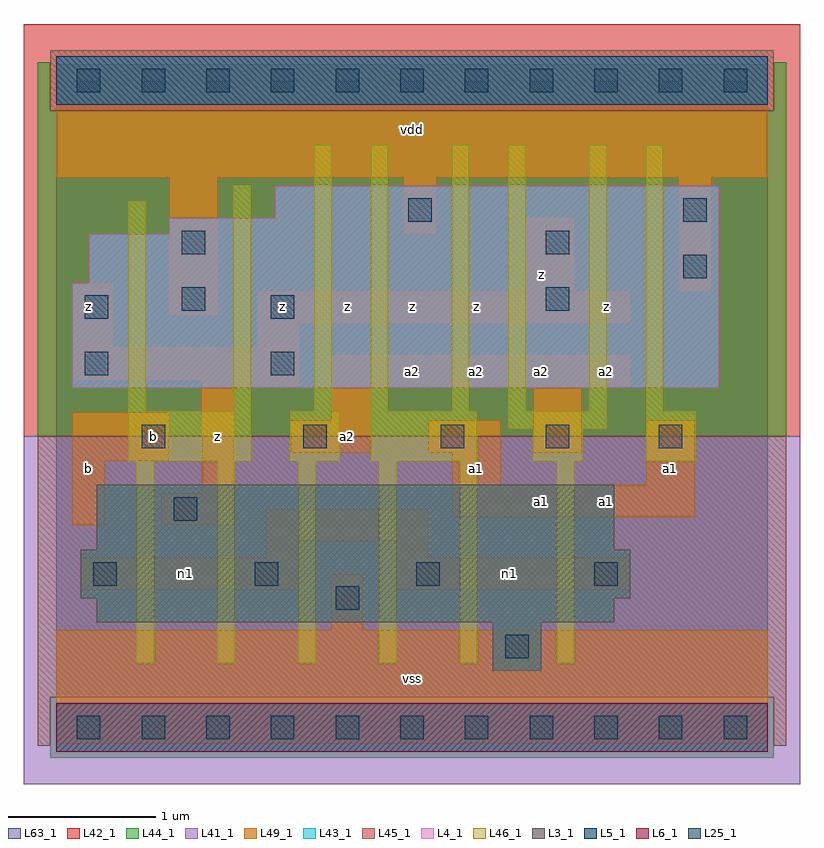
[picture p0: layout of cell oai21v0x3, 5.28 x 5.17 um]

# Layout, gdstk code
import gdstk
lib = gdstk.Library(unit=1e-6, precision=1e-09)
def R(c, l, rs):  # rectangles x0, y0, x1, y1
    for r in rs: c.add(gdstk.rectangle(r[:2], r[2:], *l))
def A(c, l, x, y, w, h, nx, ny, dx, dy):  # array of equal rectangles
    R(c, l, [(x+i*dx, y+j*dy, x+i*dx+w, y+j*dy+h) for i in range(nx) for j in range(ny)])
L3_1 = (3, 1)
L4_1 = (4, 1)
L5_1 = (5, 1)
L6_1 = (6, 1)
L25_1 = (25, 1)
L41_1 = (41, 1)
L42_1 = (42, 1)
L43_1 = (43, 1)
L44_1 = (44, 1)
L45_1 = (45, 1)
L46_1 = (46, 1)
L49_1 = (49, 1)
L63_1 = (63, 1)

oai21v0x3 = lib.new_cell('oai21v0x3')
R(oai21v0x3, L3_1, [(2.97,0.385,3.3,0.715), (0.275,0.715,3.795,0.88), (0.165,0.88,3.905,1.21), (0.275,1.21,3.795,1.65)])
R(oai21v0x3, L4_1, [(0.11,2.31,4.51,3.025), (0.22,3.025,4.51,3.355), (0.77,3.355,4.51,3.465), (1.485,3.465,4.51,3.685)])
R(oai21v0x3, L5_1, [(0,4.235,4.84,4.565)])
R(oai21v0x3, L6_1, [(0,-0.165,4.84,0.165)])
A(oai21v0x3, L25_1, 0.14, -0.08, 0.16, 0.16, 11, 2, 0.44, 4.4)
A(oai21v0x3, L25_1, 0.25, 0.965, 0.16, 0.16, 3, 1, 1.1, 0)
R(oai21v0x3, L25_1, [(3.055,0.47,3.215,0.63), (1.9,0.8,2.06,0.96), (3.66,0.965,3.82,1.125), (0.8,1.405,0.96,1.565), (0.58,1.9,0.74,2.06), (1.68,1.9,1.84,2.06), (2.615,1.9,2.775,2.06), (3.33,1.9,3.49,2.06), (4.1,1.9,4.26,2.06), (0.195,2.395,0.355,2.555), (1.46,2.395,1.62,2.555), (0.195,2.78,0.355,2.94), (1.46,2.78,1.62,2.94), (0.855,2.835,1.015,2.995), (3.33,2.835,3.49,2.995), (4.265,3.055,4.425,3.215), (0.855,3.22,1.015,3.38), (3.33,3.22,3.49,3.38), (2.395,3.44,2.555,3.6), (4.265,3.44,4.425,3.6)])
R(oai21v0x3, L41_1, [(-0.22,-0.385,5.06,1.98)])
R(oai21v0x3, L42_1, [(-0.22,1.98,5.06,4.785)])
R(oai21v0x3, L43_1, [(0,-0.165,4.84,0.165), (2.97,0.385,3.3,0.715), (0.275,0.715,3.795,0.88), (0.165,0.88,3.905,1.21), (0.275,1.21,3.795,1.65), (0.11,2.31,4.51,3.025), (0.22,3.025,4.51,3.355), (0.77,3.355,4.51,3.465), (1.485,3.465,4.51,3.685), (0,4.235,4.84,4.565)])
R(oai21v0x3, L44_1, [(-0.04,-0.205,4.88,0.205), (-0.125,1.98,4.965,4.195), (-0.125,4.195,-0.04,4.525), (4.88,4.195,4.965,4.525)])
R(oai21v0x3, L45_1, [(-0.125,-0.125,-0.04,0.205), (4.88,-0.125,4.965,0.205), (-0.125,0.205,4.965,1.98), (-0.04,4.195,4.88,4.605)])
A(oai21v0x3, L46_1, 0.545, 0.435, 0.12, 1.375, 5, 1, 0.55, 0)
R(oai21v0x3, L46_1, [(3.405,0.435,3.525,1.81), (0.49,1.81,1.325,2.15), (1.59,1.81,1.93,2.15), (2.14,1.81,2.865,2.15), (3.24,1.81,3.58,2.03), (4.01,1.81,4.35,2.15), (3.075,2.03,3.745,2.15), (0.49,2.15,0.61,3.58), (1.205,2.15,1.325,3.69), (1.755,2.15,1.875,3.965), (2.14,2.15,2.26,3.965), (2.69,2.15,2.81,3.965), (3.075,2.15,3.195,3.965), (3.625,2.15,3.745,3.965), (4.01,2.15,4.13,3.965)])
R(oai21v0x3, L49_1, [(0,-0.11,4.84,0.66), (1.87,0.66,2.09,1.045), (0.165,0.935,1.65,1.155), (2.31,0.935,3.905,1.155), (1.43,1.155,1.65,1.265), (2.31,1.155,2.53,1.265), (1.43,1.265,2.53,1.485), (0.11,1.375,0.33,1.815), (0.715,1.375,1.21,1.595), (2.695,1.43,4.345,1.65), (0.99,1.595,1.21,2.31), (2.695,1.65,3.025,1.87), (4.015,1.65,4.345,2.09), (0.11,1.815,0.77,2.145), (1.595,1.87,2.145,2.09), (2.53,1.87,3.025,2.09), (3.245,1.87,3.575,2.31), (1.87,2.09,2.145,2.31), (0.99,2.31,1.65,2.365), (1.87,2.31,3.905,2.53), (0.11,2.365,1.65,2.585), (0.11,2.585,0.385,3.025), (1.375,2.585,1.65,2.75), (1.375,2.75,3.905,2.97), (0.77,2.805,1.1,3.74), (3.19,2.97,3.52,3.465), (4.235,2.97,4.455,3.74), (2.365,3.355,2.585,3.74), (0,3.74,4.84,4.51)])
R(oai21v0x3, L63_1, [(0,0,4.84,4.4)])
oai21v0x3.add(gdstk.Label('b', (0.22,1.76), layer=49, texttype=1))
oai21v0x3.add(gdstk.Label('b', (0.66,1.98), layer=49, texttype=1))
oai21v0x3.add(gdstk.Label('z', (0.22,2.86), layer=49, texttype=1))
oai21v0x3.add(gdstk.Label('n1', (0.88,1.045), layer=49, texttype=1))
oai21v0x3.add(gdstk.Label('z', (1.1,1.98), layer=49, texttype=1))
oai21v0x3.add(gdstk.Label('z', (1.54,2.86), layer=49, texttype=1))
oai21v0x3.add(gdstk.Label('vss', (2.42,0.33), layer=49, texttype=1))
oai21v0x3.add(gdstk.Label('a2', (1.98,1.98), layer=49, texttype=1))
oai21v0x3.add(gdstk.Label('a2', (2.42,2.42), layer=49, texttype=1))
oai21v0x3.add(gdstk.Label('z', (2.42,2.86), layer=49, texttype=1))
oai21v0x3.add(gdstk.Label('z', (1.98,2.86), layer=49, texttype=1))
oai21v0x3.add(gdstk.Label('vdd', (2.42,4.07), layer=49, texttype=1))
oai21v0x3.add(gdstk.Label('a1', (3.3,1.54), layer=49, texttype=1))
oai21v0x3.add(gdstk.Label('a1', (3.74,1.54), layer=49, texttype=1))
oai21v0x3.add(gdstk.Label('a1', (2.86,1.76), layer=49, texttype=1))
oai21v0x3.add(gdstk.Label('a2', (2.86,2.42), layer=49, texttype=1))
oai21v0x3.add(gdstk.Label('a2', (3.3,2.42), layer=49, texttype=1))
oai21v0x3.add(gdstk.Label('a2', (3.74,2.42), layer=49, texttype=1))
oai21v0x3.add(gdstk.Label('z', (3.74,2.86), layer=49, texttype=1))
oai21v0x3.add(gdstk.Label('z', (2.86,2.86), layer=49, texttype=1))
oai21v0x3.add(gdstk.Label('z', (3.3,3.08), layer=49, texttype=1))
oai21v0x3.add(gdstk.Label('n1', (3.08,1.045), layer=49, texttype=1))
oai21v0x3.add(gdstk.Label('a1', (4.18,1.76), layer=49, texttype=1))

lib.write_gds('oai21v0x3.gds')
